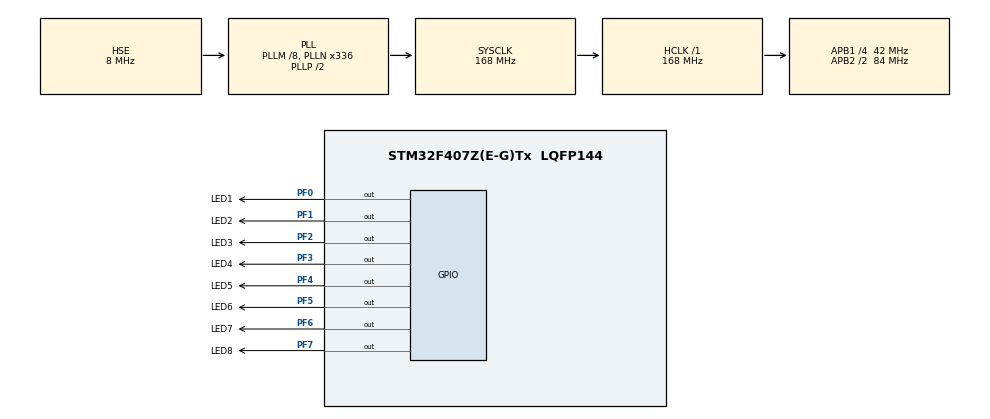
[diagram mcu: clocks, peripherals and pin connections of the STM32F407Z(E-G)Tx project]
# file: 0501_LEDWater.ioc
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Mcu.Family=STM32F4
Mcu.Name=STM32F407Z(E-G)Tx
Mcu.Package=LQFP144
NVIC.PriorityGroup=NVIC_PRIORITYGROUP_4
PA13.Mode=Serial_Wire
PA13.Signal=SYS_JTMS-SWDIO
PA14.Mode=Serial_Wire
PA14.Signal=SYS_JTCK-SWCLK
PF0.GPIO_Label=LED1
PF0.GPIO_ModeDefaultOutputPP=GPIO_MODE_OUTPUT_PP
PF0.GPIO_PuPd=GPIO_NOPULL
PF0.GPIO_Speed=GPIO_SPEED_FREQ_LOW
PF0.PinState=GPIO_PIN_SET
PF0.Signal=GPIO_Output
PF1.GPIO_Label=LED2
PF1.GPIO_ModeDefaultOutputPP=GPIO_MODE_OUTPUT_PP
PF1.GPIO_PuPd=GPIO_NOPULL
PF1.GPIO_Speed=GPIO_SPEED_FREQ_LOW
PF1.PinState=GPIO_PIN_SET
PF1.Signal=GPIO_Output
PF2.GPIO_Label=LED3
PF2.GPIO_ModeDefaultOutputPP=GPIO_MODE_OUTPUT_PP
PF2.GPIO_PuPd=GPIO_NOPULL
PF2.GPIO_Speed=GPIO_SPEED_FREQ_LOW
PF2.PinState=GPIO_PIN_SET
PF2.Signal=GPIO_Output
PF3.GPIO_Label=LED4
PF3.GPIO_ModeDefaultOutputPP=GPIO_MODE_OUTPUT_PP
PF3.GPIO_PuPd=GPIO_NOPULL
PF3.GPIO_Speed=GPIO_SPEED_FREQ_LOW
PF3.PinState=GPIO_PIN_SET
PF3.Signal=GPIO_Output
PF4.GPIO_Label=LED5
PF4.GPIO_ModeDefaultOutputPP=GPIO_MODE_OUTPUT_PP
PF4.GPIO_PuPd=GPIO_NOPULL
PF4.GPIO_Speed=GPIO_SPEED_FREQ_LOW
PF4.PinState=GPIO_PIN_SET
PF4.Signal=GPIO_Output
PF5.GPIO_Label=LED6
PF5.GPIO_ModeDefaultOutputPP=GPIO_MODE_OUTPUT_PP
PF5.GPIO_PuPd=GPIO_NOPULL
PF5.GPIO_Speed=GPIO_SPEED_FREQ_LOW
PF5.PinState=GPIO_PIN_SET
PF5.Signal=GPIO_Output
PF6.GPIO_Label=LED7
PF6.GPIO_ModeDefaultOutputPP=GPIO_MODE_OUTPUT_PP
PF6.GPIO_PuPd=GPIO_NOPULL
PF6.GPIO_Speed=GPIO_SPEED_FREQ_LOW
PF6.PinState=GPIO_PIN_SET
PF6.Signal=GPIO_Output
PF7.GPIO_Label=LED8
PF7.GPIO_ModeDefaultOutputPP=GPIO_MODE_OUTPUT_PP
PF7.GPIO_PuPd=GPIO_NOPULL
PF7.GPIO_Speed=GPIO_SPEED_FREQ_LOW
PF7.PinState=GPIO_PIN_SET
PF7.Signal=GPIO_Output
PH0-OSC_IN.Mode=HSE-External-Oscillator
PH0-OSC_IN.Signal=RCC_OSC_IN
PH1-OSC_OUT.Mode=HSE-External-Oscillator
PH1-OSC_OUT.Signal=RCC_OSC_OUT
ProjectManager.HeapSize=0x200
ProjectManager.StackSize=0x400
ProjectManager.TargetToolchain=STM32CubeIDE
RCC.48MHZClocksFreq_Value=84000000
RCC.AHBFreq_Value=168000000
RCC.APB1CLKDivider=RCC_HCLK_DIV4
RCC.APB1Freq_Value=42000000
RCC.APB1TimFreq_Value=84000000
RCC.APB2CLKDivider=RCC_HCLK_DIV2
RCC.APB2Freq_Value=84000000
RCC.APB2TimFreq_Value=168000000
RCC.CortexFreq_Value=168000000
RCC.HCLKFreq_Value=168000000
RCC.HSE_VALUE=8000000
RCC.HSI_VALUE=16000000
RCC.LSE_VALUE=32768
RCC.PLLM=8
RCC.PLLN=336
RCC.PLLSourceVirtual=RCC_PLLSOURCE_HSE
RCC.SYSCLKFreq_VALUE=168000000
RCC.SYSCLKSource=RCC_SYSCLKSOURCE_PLLCLK
RCC.VCOOutputFreq_Value=336000000
board=custom

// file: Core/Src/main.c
/* USER CODE BEGIN Header */
/**
  ******************************************************************************
  * @file           : main.c
  * @brief          : Main program body
  ******************************************************************************
  * @attention
  *
  * Copyright (c) 2026 STMicroelectronics.
  * All rights reserved.
  *
  * This software is licensed under terms that can be found in the LICENSE file
  * in the root directory of this software component.
  * If no LICENSE file comes with this software, it is provided AS-IS.
  *
  ******************************************************************************
  */
/* USER CODE END Header */
#include "main.h"
#include "gpio.h"

void SystemClock_Config(void);

/* USER CODE BEGIN 0 */
/**
  * @brief  粗略软件延时
  * @param  i: 循环次数；主频 168MHz 时 24000000 约等于 1 秒
  */
void delay(uint32_t i)
{
  while (i--)
  {
  }
}
/* USER CODE END 0 */

int main(void)
{

  /* MCU Configuration--------------------------------------------------------*/

  /* Reset of all peripherals, Initializes the Flash interface and the Systick. */
  HAL_Init();

  /* Configure the system clock */
  SystemClock_Config();

  /* Initialize all configured peripherals */
  MX_GPIO_Init();

  /* Infinite loop */
  /* USER CODE BEGIN WHILE */
  while (1)
  {
    GPIOF->ODR = 0xFE;   /* PF0 输出低 -> LED1 亮，其余灭 */
    delay(24000000);
    GPIOF->ODR = 0xFD;   /* PF1 输出低 -> LED2 亮 */
    delay(24000000);
    GPIOF->ODR = 0xFB;   /* PF2 输出低 -> LED3 亮 */
    delay(24000000);
    GPIOF->ODR = 0xF7;   /* PF3 输出低 -> LED4 亮 */
    delay(24000000);
    GPIOF->ODR = 0xEF;   /* PF4 输出低 -> LED5 亮 */
    delay(24000000);
    GPIOF->ODR = 0xDF;   /* PF5 输出低 -> LED6 亮 */
    delay(24000000);
    GPIOF->ODR = 0xBF;   /* PF6 输出低 -> LED7 亮 */
    delay(24000000);
    GPIOF->ODR = 0x7F;   /* PF7 输出低 -> LED8 亮 */
    delay(24000000);
    /* USER CODE END WHILE */

  }
}

void SystemClock_Config(void)
{
  RCC_OscInitTypeDef RCC_OscInitStruct = {0};
  RCC_ClkInitTypeDef RCC_ClkInitStruct = {0};

  /** Configure the main internal regulator output voltage
  */
  __HAL_RCC_PWR_CLK_ENABLE();
  __HAL_PWR_VOLTAGESCALING_CONFIG(PWR_REGULATOR_VOLTAGE_SCALE1);

  /** Initializes the RCC Oscillators according to the specified parameters
  * in the RCC_OscInitTypeDef structure.
  */
  RCC_OscInitStruct.OscillatorType = RCC_OSCILLATORTYPE_HSE;
  RCC_OscInitStruct.HSEState = RCC_HSE_ON;
  RCC_OscInitStruct.PLL.PLLState = RCC_PLL_ON;
  RCC_OscInitStruct.PLL.PLLSource = RCC_PLLSOURCE_HSE;
  RCC_OscInitStruct.PLL.PLLM = 8;
  RCC_OscInitStruct.PLL.PLLN = 336;
  RCC_OscInitStruct.PLL.PLLP = RCC_PLLP_DIV2;
  RCC_OscInitStruct.PLL.PLLQ = 4;
  if (HAL_RCC_OscConfig(&RCC_OscInitStruct) != HAL_OK)
  {
    Error_Handler();
  }

  /** Initializes the CPU, AHB and APB buses clocks
  */
  RCC_ClkInitStruct.ClockType = RCC_CLOCKTYPE_HCLK|RCC_CLOCKTYPE_SYSCLK
                              |RCC_CLOCKTYPE_PCLK1|RCC_CLOCKTYPE_PCLK2;
  RCC_ClkInitStruct.SYSCLKSource = RCC_SYSCLKSOURCE_PLLCLK;
  RCC_ClkInitStruct.AHBCLKDivider = RCC_SYSCLK_DIV1;
  RCC_ClkInitStruct.APB1CLKDivider = RCC_HCLK_DIV4;
  RCC_ClkInitStruct.APB2CLKDivider = RCC_HCLK_DIV2;

  if (HAL_RCC_ClockConfig(&RCC_ClkInitStruct, FLASH_LATENCY_5) != HAL_OK)
  {
    Error_Handler();
  }
}

void Error_Handler(void)
{
  __disable_irq();
  while (1)
  {
  }
}
